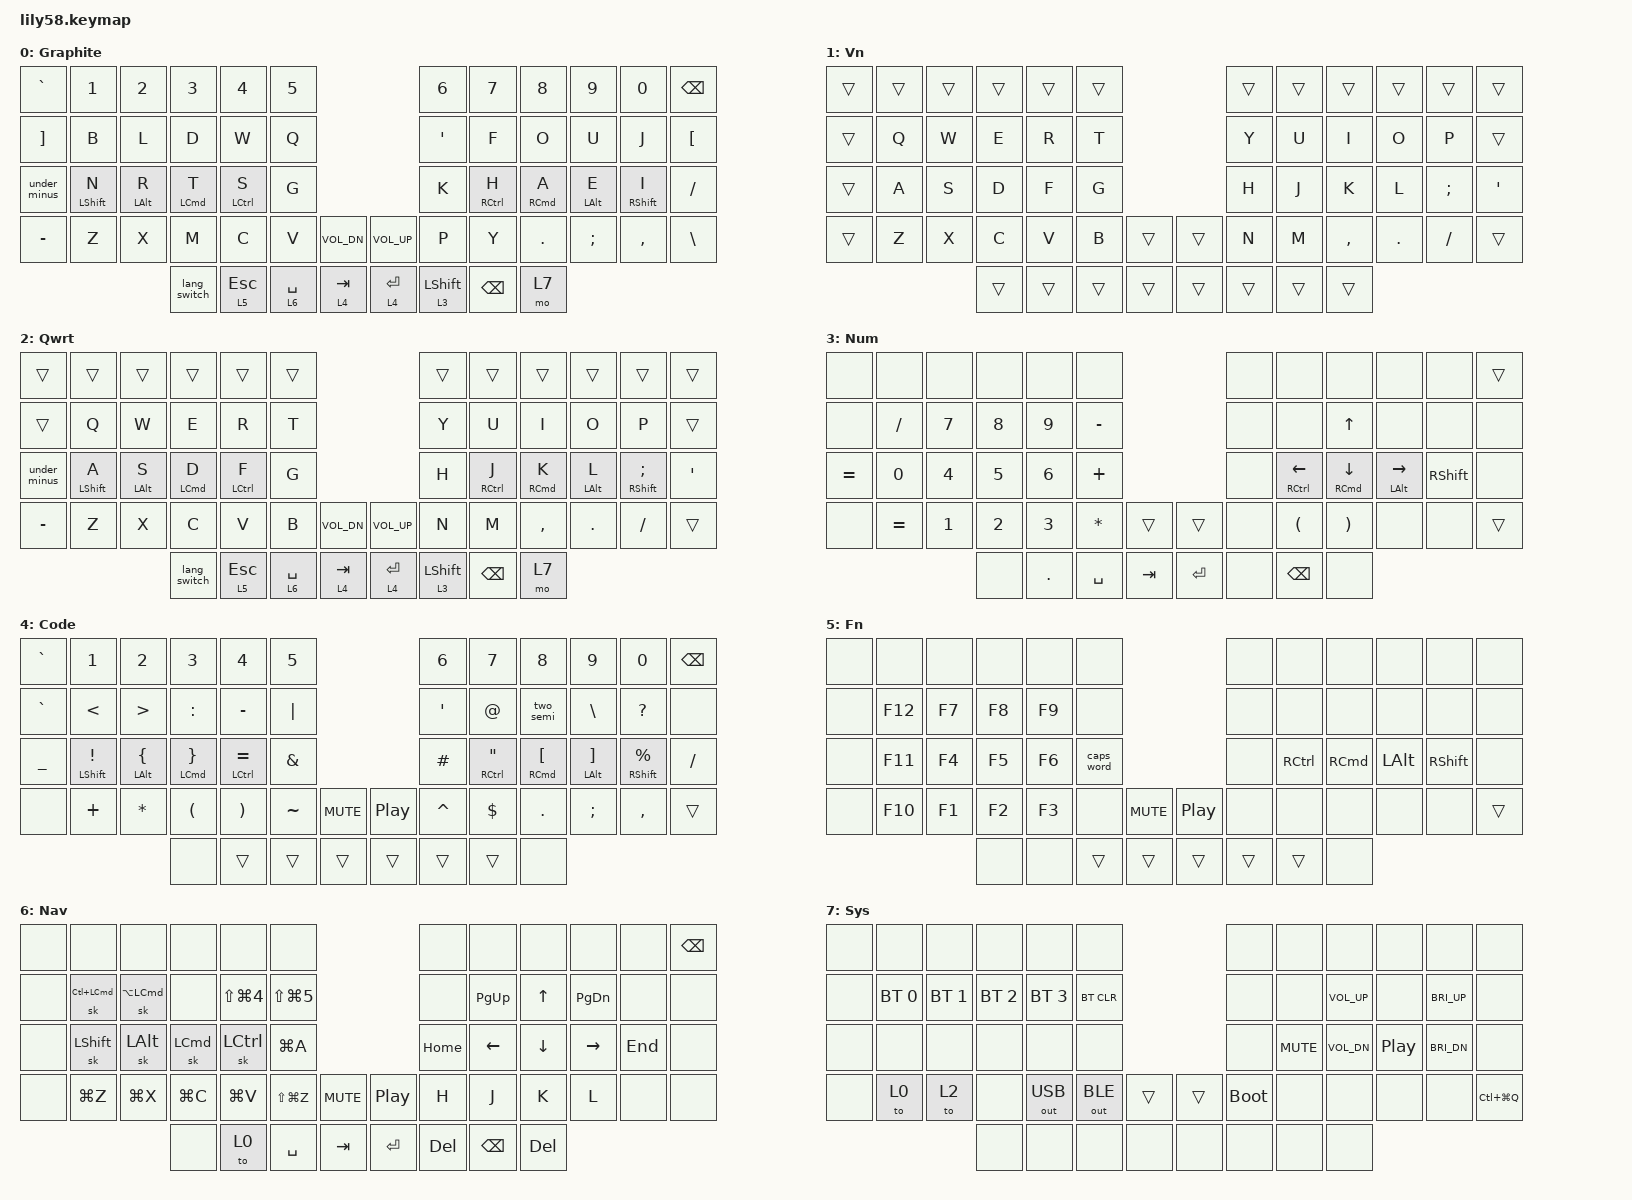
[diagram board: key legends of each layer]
/*
 * Copyright (c) 2020 The ZMK Contributors
 *
 * SPDX-License-Identifier: MIT
 */

#include <behaviors.dtsi>
#include <dt-bindings/zmk/bt.h>
#include <dt-bindings/zmk/keys.h>
#include <dt-bindings/zmk/outputs.h>

&mt { quick-tap-ms = <150>; };

&sl { /delete-property/ quick-release; };

&gresc {
    keep-mods = <(MOD_RGUI|MOD_LGUI)>;
    mods = <(MOD_LGUI|MOD_RGUI)>;
};

&caps_word { continue-list = <UNDERSCORE BACKSPACE DELETE MINUS>; };

/ {
    behaviors {
        lh_hm: lh_hm {
            compatible = "zmk,behavior-hold-tap";
            label = "left_hand_homerow_mods";
            bindings = <&kp>, <&kp>;

            #binding-cells = <2>;
            tapping-term-ms = <280>;
            quick-tap-ms = <175>;
            flavor = "balanced";
            hold-trigger-on-release;
            hold-trigger-key-positions = <6 7 8 9 10 11 18 19 20 21 22 23 30 31 32 33 34 35 34 35 43 44 45 46 47 48 49 55 56 57 58 59 50 51 52 53 54 0 12 24 36>;
            require-prior-idle-ms = <100>;
        };

        rh_hm: rh_hm {
            compatible = "zmk,behavior-hold-tap";
            label = "right_hand_homerow_mods";
            bindings = <&kp>, <&kp>;

            #binding-cells = <2>;
            tapping-term-ms = <280>;
            quick-tap-ms = <175>;
            flavor = "balanced";
            hold-trigger-key-positions = <0 1 2 3 4 5 12 13 14 15 16 17 24 25 26 27 28 29 36 37 38 40 39 50 51 52 53 54 55 56 57 58 59 17 29 41 42 11 23 35 49>;
            hold-trigger-on-release;
            require-prior-idle-ms = <100>;
        };

        smart_shft: smart_shft {
            compatible = "zmk,behavior-mod-morph";
            label = "SMART_SHFT";
            bindings = <&quick_sk LSHFT>, <&caps_word>;

            #binding-cells = <0>;
            mods = <(MOD_LSFT)>;
        };

        quick_sk: quick_sk {
            compatible = "zmk,behavior-sticky-key";
            label = "QUICK_STICKY_KEY";
            bindings = <&kp>;
            #binding-cells = <1>;
            release-after-ms = <900>;
            quick-release;
        };

        thumb_lt: thumb_lt {
            compatible = "zmk,behavior-hold-tap";
            label = "THUMB_LT";
            bindings = <&mo>, <&kp>;

            #binding-cells = <2>;
            tapping-term-ms = <280>;
            flavor = "hold-preferred";
        };

        layer_sshft: lsk {
            compatible = "zmk,behavior-hold-tap";
            label = "LAYER_SSHFT";
            bindings = <&mo>, <&smart_shft>;

            #binding-cells = <2>;
            tapping-term-ms = <150>;
            flavor = "balanced";
        };

        under_minus: under_minus {
            compatible = "zmk,behavior-mod-morph";
            label = "UNDER_MINUS";
            bindings = <&kp UNDER>, <&kp MINUS>;

            #binding-cells = <0>;
            mods = <(MOD_LSFT|MOD_RSFT|MOD_LCTL|MOD_LGUI|MOD_RGUI|MOD_RCTL|MOD_LALT|MOD_RALT)>;
            keep-mods = <(MOD_LCTL|MOD_LALT|MOD_LGUI|MOD_RCTL|MOD_RALT|MOD_RGUI)>;
        };
    };

    macros {
        lang_switch: lang_switch {
            compatible = "zmk,behavior-macro";
            #binding-cells = <0>;
            bindings = <&tog 1 &kp LA(SPACE)>;
            label = "LANG_SWITCH";
        };

        two_semi: two_semi {
            compatible = "zmk,behavior-macro";
            #binding-cells = <0>;
            bindings = <&kp COLON &kp COLON>;
            label = "TWO_SEMI";
        };
    };

    combos { compatible = "zmk,combos"; };

    keymap {
        compatible = "zmk,keymap";

        graphite_layer {
            bindings = <
&kp GRAVE     &kp N1          &kp N2         &kp N3         &kp N4           &kp N5                                           &kp N6                &kp N7          &kp N8         &kp N9         &kp N0          &kp BSPC
&kp RBKT      &kp B           &kp L          &kp D          &kp W            &kp Q                                            &kp SQT               &kp F           &kp O          &kp U          &kp J           &kp LBKT
&under_minus  &lh_hm LSHFT N  &lh_hm LALT R  &lh_hm LCMD T  &lh_hm LCTRL S   &kp G                                            &kp K                 &rh_hm RCTRL H  &rh_hm RCMD A  &rh_hm LALT E  &rh_hm RSHFT I  &kp FSLH
&kp MINUS     &kp Z           &kp X          &kp M          &kp C            &kp V        &kp C_VOL_DN       &kp C_VOL_UP     &kp P                 &kp Y           &kp DOT        &kp SEMI       &kp COMMA       &kp BSLH
                                             &lang_switch   &thumb_lt 5 ESC  &lt 6 SPACE  &thumb_lt 4 TAB    &thumb_lt 4 RET  &layer_sshft 3 LSHFT  &kp BSPC        &mo 7
            >;

            label = "Graphite";
        };

        qwerty_layer {
            bindings = <
&trans  &trans  &trans  &trans  &trans  &trans                    &trans  &trans  &trans     &trans   &trans    &trans
&trans  &kp Q   &kp W   &kp E   &kp R   &kp T                     &kp Y   &kp U   &kp I      &kp O    &kp P     &trans
&trans  &kp A   &kp S   &kp D   &kp F   &kp G                     &kp H   &kp J   &kp K      &kp L    &kp SEMI  &kp APOS
&trans  &kp Z   &kp X   &kp C   &kp V   &kp B   &trans    &trans  &kp N   &kp M   &kp COMMA  &kp DOT  &kp FSLH  &trans
                        &trans  &trans  &trans  &trans    &trans  &trans  &trans  &trans
            >;

            label = "Vn";
        };

        qwerty {
            label = "Qwrt";
            bindings = <
&trans        &trans          &trans         &trans         &trans           &trans                                           &trans                &trans          &trans         &trans         &trans             &trans
&trans        &kp Q           &kp W          &kp E          &kp R            &kp T                                            &kp Y                 &kp U           &kp I          &kp O          &kp P              &trans
&under_minus  &lh_hm LSHFT A  &lh_hm LALT S  &lh_hm LCMD D  &lh_hm LCTRL F   &kp G                                            &kp H                 &rh_hm RCTRL J  &rh_hm RCMD K  &rh_hm LALT L  &rh_hm RSHFT SEMI  &kp SQT
&kp MINUS     &kp Z           &kp X          &kp C          &kp V            &kp B        &kp C_VOL_DN       &kp C_VOL_UP     &kp N                 &kp M           &kp COMMA      &kp DOT        &kp FSLH           &trans
                                             &lang_switch   &thumb_lt 5 ESC  &lt 6 SPACE  &thumb_lt 4 TAB    &thumb_lt 4 RET  &layer_sshft 3 LSHFT  &kp BSPC        &mo 7
            >;
        };

        num {
            label = "Num";
            bindings = <
&none      &none      &none   &none   &none    &none                          &none  &none           &none          &none           &none      &trans
&none      &kp FSLH   &kp N7  &kp N8  &kp N9   &kp MINUS                      &none  &none           &kp UP         &none           &none      &none
&kp EQUAL  &kp N0     &kp N4  &kp N5  &kp N6   &kp PLUS                       &none  &mt RCTRL LEFT  &mt RCMD DOWN  &mt LALT RIGHT  &kp RSHFT  &none
&none      &kp EQUAL  &kp N1  &kp N2  &kp N3   &kp STAR   &trans     &trans   &none  &kp LPAR        &kp RPAR       &none           &none      &trans
                              &none   &kp DOT  &kp SPACE  &kp TAB    &kp RET  &none  &kp BSPC        &none
            >;
        };

        sym_layer {
            bindings = <
&kp GRAVE  &kp N1             &kp N2            &kp N3            &kp N4              &kp N5                             &kp N6     &kp N7            &kp N8            &kp N9            &kp N0              &kp BSPC
&kp GRAVE  &kp LT             &kp GT            &kp COLON         &kp MINUS           &kp PIPE                           &kp SQT    &kp AT            &two_semi         &kp BSLH          &kp QMARK           &none
&kp UNDER  &lh_hm LSHFT EXCL  &lh_hm LALT LBRC  &lh_hm LCMD RBRC  &lh_hm LCTRL EQUAL  &kp AMPS                           &kp HASH   &rh_hm RCTRL DQT  &rh_hm RCMD LBKT  &rh_hm LALT RBKT  &rh_hm RSHFT PRCNT  &kp FSLH
&none      &kp PLUS           &kp STAR          &kp LPAR          &kp RPAR            &kp TILDE  &kp K_MUTE    &kp C_PP  &kp CARET  &kp DLLR          &kp DOT           &kp SEMI          &kp COMMA           &trans
                                                &none             &trans              &trans     &trans        &trans    &trans     &trans            &none
            >;

            label = "Code";
        };

        fn_layer {
            label = "Fn";
            bindings = <
&none  &none    &none   &none   &none   &none                               &none   &none      &none     &none     &none      &none
&none  &kp F12  &kp F7  &kp F8  &kp F9  &none                               &none   &none      &none     &none     &none      &none
&none  &kp F11  &kp F4  &kp F5  &kp F6  &caps_word                          &none   &kp RCTRL  &kp RCMD  &kp LALT  &kp RSHFT  &none
&none  &kp F10  &kp F1  &kp F2  &kp F3  &none       &kp K_MUTE    &kp C_PP  &none   &none      &none     &none     &none      &trans
                        &none   &none   &trans      &trans        &trans    &trans  &trans     &none
            >;
        };

        nav_layer {
            bindings = <
&none  &none         &none         &none      &none                 &none                                   &none     &none      &none     &none      &none    &kp BSPC
&none  &sk LC(LCMD)  &sk LA(LCMD)  &none      &kp LS(LG(NUMBER_4))  &kp LS(LG(N5))                          &none     &kp PG_UP  &kp UP    &kp PG_DN  &none    &none
&none  &sk LSHFT     &sk LALT      &sk LCMD   &sk LCTRL             &kp LG(A)                               &kp HOME  &kp LEFT   &kp DOWN  &kp RIGHT  &kp END  &none
&none  &kp LG(Z)     &kp LG(X)     &kp LG(C)  &kp LG(V)             &kp LS(LG(Z))   &kp K_MUTE    &kp C_PP  &kp H     &kp J      &kp K     &kp L      &none    &none
                                   &none      &to 0                 &kp SPACE       &kp TAB       &kp RET   &kp DEL   &kp BSPC   &kp DEL
            >;

            label = "Nav";
        };

        sys_layer {
            bindings = <
&none  &none         &none         &none         &none         &none                           &none        &none       &none         &none     &none         &none
&none  &bt BT_SEL 0  &bt BT_SEL 1  &bt BT_SEL 2  &bt BT_SEL 3  &bt BT_CLR                      &none        &none       &kp C_VOL_UP  &none     &kp C_BRI_UP  &none
&none  &none         &none         &none         &none         &none                           &none        &kp C_MUTE  &kp C_VOL_DN  &kp C_PP  &kp C_BRI_DN  &none
&none  &to 0         &to 2         &none         &out OUT_USB  &out OUT_BLE  &trans    &trans  &bootloader  &none       &none         &none     &none         &kp LC(LG(Q))
                                   &none         &none         &none         &none     &none   &none        &none       &none
            >;

            label = "Sys";
        };
    };
};
